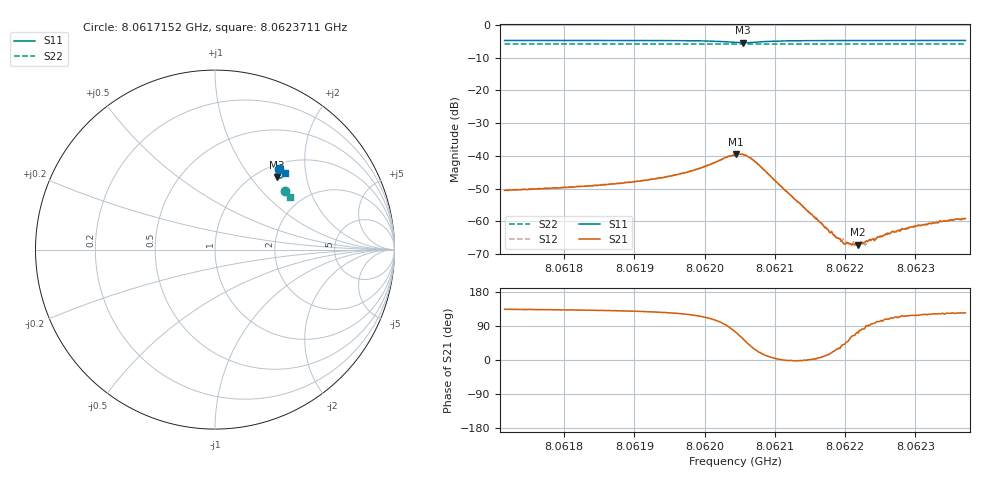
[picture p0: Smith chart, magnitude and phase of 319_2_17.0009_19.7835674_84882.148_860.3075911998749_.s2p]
#  HZ  S  RI  R  50.00
! Rohde & Schwarz Vector Network Analyzer
! Rohde-Schwarz,ZNB20-2Port,1311601062101988,3.16
! Created: UTC 3/20/2024, 11:06:20 PM
! freq[Hz]  re:S11  im:S11  re:S21  im:S21  re:S12  im:S12  re:S22  im:S22
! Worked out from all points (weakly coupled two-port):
!   401 points, 8.0617152 GHz to 8.0623711 GHz, reference 50 ohm
!   highest |S21| = -39.40 dB at 8.0620448 GHz (marker M1); lowest = -67.1 dB at 8.0622186 GHz (marker M2)
!   lowest |S11| = -5.5 dB at 8.0620546 GHz (marker M3), VSWR 3.26, Z = 61 + j68.3 ohm
!   |S11| at or under -10 dB: nowhere
!   |S22| runs from -5.9 to -5.8 dB; largest |S21 - S12| = 0.00078
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8.0617152e9  0.3593 0.4501  -0.00207 0.00212  -0.00196 0.0023  0.3917 0.3271
8.06182506e9  0.3669 0.4438  -0.0023 0.00255  -0.00213 0.00273  0.3959 0.3216
8.06188081e9  0.371 0.4396  -0.00245 0.00295  -0.00229 0.00313  0.398 0.3188
8.06193492e9  0.3756 0.434  -0.00273 0.0037  -0.00249 0.00388  0.4 0.3161
8.06198739e9  0.3801 0.4238  -0.00286 0.00548  -0.00254 0.00569  0.4019 0.3131
8.06203002e9  0.3736 0.4033  -0.000405 0.00953  0.000159 0.00948  0.4028 0.3103
8.06204314e9  0.3611 0.3977  0.00274 0.0101  0.00335 0.01  0.4025 0.3096
8.06204478e9  0.3591 0.3978  0.00321 0.0102  0.00381 0.01  0.4025 0.3095
8.06205462e9  0.3466 0.4022  0.00587 0.00869  0.00653 0.00828  0.4022 0.3095
8.06206282e9  0.34 0.4113  0.00718 0.00629  0.00764 0.00585  0.4025 0.3097
8.0620743e9  0.3397 0.4248  0.00712 0.00323  0.00731 0.00278  0.4031 0.3097
8.062153e9  0.368 0.4384  0.00126 4.92e-05  0.00125 -3.86e-05  0.4072 0.3062
8.06218744e9  0.3734 0.4362  0.000499 0.000263  0.000512 0.000242  0.4086 0.3045
8.06219728e9  0.3745 0.4357  0.000355 0.000304  0.000429 0.000329  0.4091 0.3039
8.06220547e9  0.3754 0.4351  0.000274 0.000369  0.0003 0.000329  0.4092 0.3034
8.06221859e9  0.3769 0.4342  0.000144 0.000417  0.000148 0.000393  0.4099 0.3028
8.06222843e9  0.3779 0.4337  3.99e-05 0.000484  6.23e-05 0.000432  0.4102 0.3023
8.06224811e9  0.3797 0.4324  -0.000109 0.000567  -5.02e-05 0.000593  0.4109 0.3013
8.06226287e9  0.381 0.4315  -0.0002 0.000614  -0.000155 0.000641  0.4113 0.3004
8.06230222e9  0.3839 0.4292  -0.000396 0.000758  -0.000374 0.000745  0.4128 0.2985
8.06233829e9  0.3865 0.4272  -0.000552 0.000828  -0.000457 0.000891  0.4142 0.2966
8.06237109e9  0.3887 0.4254  -0.000623 0.000909  -0.000606 0.000979  0.4153 0.2949
